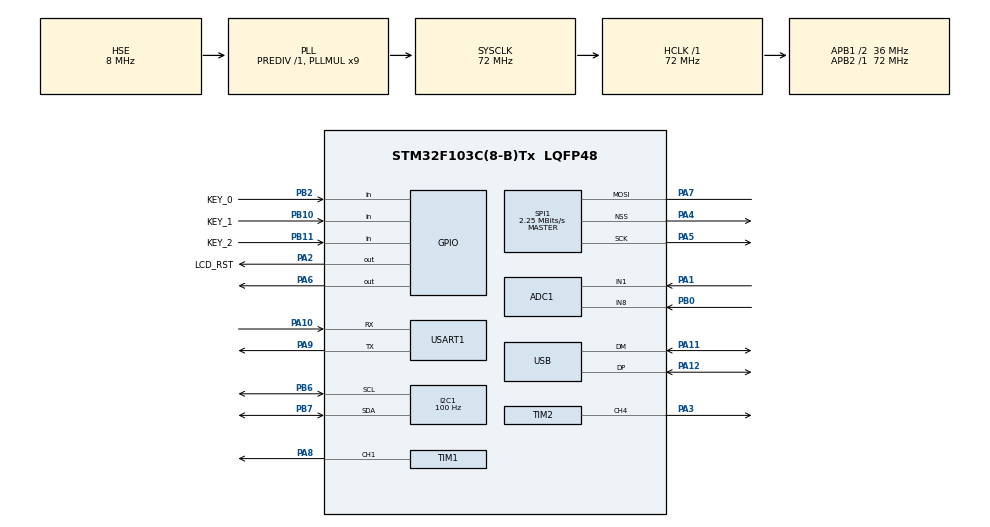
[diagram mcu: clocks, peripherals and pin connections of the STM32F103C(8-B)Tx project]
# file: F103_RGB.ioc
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ADC1.Channel-0\#ChannelRegularConversion=ADC_CHANNEL_1
ADC1.Channel-1\#ChannelRegularConversion=ADC_CHANNEL_8
ADC1.Channel-2\#ChannelRegularConversion=ADC_CHANNEL_TEMPSENSOR
ADC1.ContinuousConvMode=ENABLE
ADC1.NbrOfConversion=3
ADC1.NbrOfConversionFlag=1
ADC1.Rank-0\#ChannelRegularConversion=1
ADC1.Rank-1\#ChannelRegularConversion=2
ADC1.Rank-2\#ChannelRegularConversion=3
ADC1.SamplingTime-0\#ChannelRegularConversion=ADC_SAMPLETIME_239CYCLES_5
ADC1.SamplingTime-1\#ChannelRegularConversion=ADC_SAMPLETIME_239CYCLES_5
ADC1.SamplingTime-2\#ChannelRegularConversion=ADC_SAMPLETIME_239CYCLES_5
ADC1.master=1
Dma.ADC1.0.Direction=DMA_PERIPH_TO_MEMORY
Dma.ADC1.0.Instance=DMA1_Channel1
Dma.ADC1.0.MemDataAlignment=DMA_MDATAALIGN_HALFWORD
Dma.ADC1.0.MemInc=DMA_MINC_ENABLE
Dma.ADC1.0.Mode=DMA_CIRCULAR
Dma.ADC1.0.PeriphDataAlignment=DMA_PDATAALIGN_HALFWORD
Dma.ADC1.0.PeriphInc=DMA_PINC_DISABLE
Dma.ADC1.0.Priority=DMA_PRIORITY_LOW
Dma.Request0=ADC1
Dma.Request1=TIM1_CH1
Dma.TIM1_CH1.1.Direction=DMA_MEMORY_TO_PERIPH
Dma.TIM1_CH1.1.Instance=DMA1_Channel2
Dma.TIM1_CH1.1.MemDataAlignment=DMA_MDATAALIGN_HALFWORD
Dma.TIM1_CH1.1.MemInc=DMA_MINC_ENABLE
Dma.TIM1_CH1.1.Mode=DMA_NORMAL
Dma.TIM1_CH1.1.PeriphDataAlignment=DMA_PDATAALIGN_HALFWORD
Dma.TIM1_CH1.1.PeriphInc=DMA_PINC_DISABLE
Dma.TIM1_CH1.1.Priority=DMA_PRIORITY_LOW
I2C1.ClockSpeed=100
Mcu.Family=STM32F1
Mcu.Name=STM32F103C(8-B)Tx
Mcu.Package=LQFP48
NVIC.DMA1_Channel2_IRQn=true\:0\:0\:false\:false\:true\:false\:true\:true
NVIC.PriorityGroup=NVIC_PRIORITYGROUP_4
PA0-WKUP.Mode=SYS_WakeUp0
PA0-WKUP.Signal=SYS_WKUP
PA1.Signal=ADCx_IN1
PA10.Mode=Asynchronous
PA10.Signal=USART1_RX
PA11.Mode=Device
PA11.Signal=USB_DM
PA12.Mode=Device
PA12.Signal=USB_DP
PA13.Mode=Serial_Wire
PA13.Signal=SYS_JTMS-SWDIO
PA14.Mode=Serial_Wire
PA14.Signal=SYS_JTCK-SWCLK
PA2.GPIO_Label=LCD_RST
PA2.GPIO_PuPd=GPIO_NOPULL
PA2.Signal=GPIO_Output
PA3.Signal=S_TIM2_CH4
PA4.Mode=NSS_Signal_Hard_Output
PA4.Signal=SPI1_NSS
PA5.Mode=Simplex_Bidirectional_Master
PA5.Signal=SPI1_SCK
PA6.Signal=GPIO_Output
PA7.Mode=Simplex_Bidirectional_Master
PA7.Signal=SPI1_MOSI
PA8.Signal=S_TIM1_CH1
PA9.Mode=Asynchronous
PA9.Signal=USART1_TX
PB0.Signal=ADCx_IN8
PB10.GPIO_Label=KEY_1
PB10.Signal=GPIO_Input
PB11.GPIO_Label=KEY_2
PB11.Signal=GPIO_Input
PB2.GPIO_Label=KEY_0
PB2.Signal=GPIO_Input
PB6.Mode=I2C
PB6.Signal=I2C1_SCL
PB7.Mode=I2C
PB7.Signal=I2C1_SDA
PC14-OSC32_IN.Mode=LSE-External-Oscillator
PC14-OSC32_IN.Signal=RCC_OSC32_IN
PC15-OSC32_OUT.Mode=LSE-External-Oscillator
PC15-OSC32_OUT.Signal=RCC_OSC32_OUT
PD0-OSC_IN.Mode=HSE-External-Oscillator
PD0-OSC_IN.Signal=RCC_OSC_IN
PD1-OSC_OUT.Mode=HSE-External-Oscillator
PD1-OSC_OUT.Signal=RCC_OSC_OUT
ProjectManager.HeapSize=0x200
ProjectManager.StackSize=0x400
ProjectManager.TargetToolchain=MDK-ARM V5.32
RCC.ADCPresc=RCC_ADCPCLK2_DIV6
RCC.AHBFreq_Value=72000000
RCC.APB1CLKDivider=RCC_HCLK_DIV2
RCC.APB1Freq_Value=36000000
RCC.APB1TimFreq_Value=72000000
RCC.APB2Freq_Value=72000000
RCC.APB2TimFreq_Value=72000000
RCC.HCLKFreq_Value=72000000
RCC.PLLMUL=RCC_PLL_MUL9
RCC.PLLSourceVirtual=RCC_PLLSOURCE_HSE
RCC.SYSCLKFreq_VALUE=72000000
RCC.SYSCLKSource=RCC_SYSCLKSOURCE_PLLCLK
RCC.USBFreq_Value=48000000
RCC.USBPrescaler=RCC_USBCLKSOURCE_PLL_DIV1_5
SH.ADCx_IN1.0=ADC1_IN1,IN1
SH.ADCx_IN8.0=ADC1_IN8,IN8
SH.S_TIM1_CH1.0=TIM1_CH1,PWM Generation1 CH1
SH.S_TIM2_CH4.0=TIM2_CH4,PWM Generation4 CH4
SPI1.BaudRatePrescaler=SPI_BAUDRATEPRESCALER_32
SPI1.CalculateBaudRate=2.25 MBits/s
SPI1.Direction=SPI_DIRECTION_1LINE
SPI1.Mode=SPI_MODE_MASTER
SPI1.VirtualNSS=VM_NSSHARD
SPI1.VirtualType=VM_MASTER
TIM1.Channel-PWM\ Generation1\ CH1=TIM_CHANNEL_1
TIM1.OCFastMode_PWM-PWM\ Generation1\ CH1=TIM_OCFAST_ENABLE
TIM1.Period=90-1
TIM2.Channel-PWM\ Generation4\ CH4=TIM_CHANNEL_4
TIM2.Period=1000-1
TIM2.Prescaler=72-1
USART1.VirtualMode=VM_ASYNC
VP_ADC1_TempSens_Input.Mode=IN-TempSens
VP_TIM1_VS_ClockSourceINT.Mode=Internal
VP_TIM2_VS_ClockSourceINT.Mode=Internal
board=custom

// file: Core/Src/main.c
/* USER CODE BEGIN Header */
/**
  ******************************************************************************
  * @file           : main.c
  * @brief          : Main program body
  ******************************************************************************
  * @attention
  *
  * Copyright (c) 2025 STMicroelectronics.
  * All rights reserved.
  *
  * This software is licensed under terms that can be found in the LICENSE file
  * in the root directory of this software component.
  * If no LICENSE file comes with this software, it is provided AS-IS.
  *
  ******************************************************************************
  */
/* USER CODE END Header */
#include "main.h"
#include "adc.h"
#include "dma.h"
#include "i2c.h"
#include "spi.h"
#include "tim.h"
#include "usart.h"
#include "usb.h"
#include "gpio.h"

/* USER CODE BEGIN Includes */
#include "./WS2812/WS2812.h"
#include "./INA226/INA226.h"
//#include "./ST7789/ST7789.h"

#include "math.h"
/* USER CODE END Includes */

/* USER CODE BEGIN PD */
#define ADC_DMA_CHN		3
/* USER CODE END PD */

/* USER CODE BEGIN PV */
uint16_t Adc_1_V[ADC_DMA_CHN];
/* USER CODE END PV */

void SystemClock_Config(void);

/* USER CODE BEGIN 0 */
float BSP_Get_Temperature(float Rntc)
{
	float N1,N2,N3,N4;
	float BX = 3950;
	float T25 = 298.15;
	float R25 = 10;
	N1 = (log(Rntc)-log(R25))/BX;
	N2 = 1/T25 + N1;
	N3 = 1/N2;
	N4 = N3-273.15;
	return N4;
}

/* USER CODE END 0 */

int main(void)
{

  /* MCU Configuration--------------------------------------------------------*/

  /* Reset of all peripherals, Initializes the Flash interface and the Systick. */
  HAL_Init();

  /* Configure the system clock */
  SystemClock_Config();

  /* Initialize all configured peripherals */
  MX_GPIO_Init();
  MX_DMA_Init();
  MX_SPI1_Init();
  MX_TIM2_Init();
  MX_USART1_UART_Init();
  MX_USB_PCD_Init();
  MX_TIM1_Init();
  MX_ADC1_Init();
  MX_I2C1_Init();
  /* USER CODE BEGIN 2 */
	INA226_init();
	HAL_ADC_Start_DMA(&hadc1, (uint32_t *)Adc_1_V, ADC_DMA_CHN);

	WS2812_SetColors_All(0);

	printf("STM32F103CBT6\r\n");

		uint32_t colors[Led_Num] = {
		0xFF0000, 0xFF0000, 0xFF0000, 0xFF0000, 0xFF0000,
		0xFF0000, 0xFF0000, 0xFF0000, 0xFF0000, 0xFF0000,

		0xFF0000, 0xFF0000, 0xFF0000, 0xFF0000, 0xFF0000,
		0xFF0000, 0xFF0000, 0xFF0000, 0xFF0000, 0xFF0000,

		0x0000FF, 0x0000FF, 0x0000FF, 0x0000FF, 0x0000FF,
		0x0000FF, 0x0000FF, 0x0000FF, 0x0000FF, 0x0000FF,

		0x0000FF, 0x0000FF, 0x0000FF, 0x0000FF, 0x0000FF,
		0x0000FF, 0x0000FF, 0x0000FF, 0x0000FF, 0x0000FF
	};

		uint32_t colors1[Led_Num] = {
		0xFF0000, 0xFF0000, 0xFF0000, 0xFF0000, 0xFF0000,
		0xFF0000, 0xFF0000, 0xFF0000, 0xFF0000, 0xFF0000,

		0xFF0000, 0xFF0000, 0xFF0000, 0xFF0000, 0xFF0000,
		0xFF0000, 0xFF0000, 0xFF0000, 0xFF0000, 0xFF0000,

		0x000000, 0x000000, 0x000000, 0x000000, 0x000000,
		0x000000, 0x000000, 0x000000, 0x000000, 0x000000,

		0x000000, 0x000000, 0x000000, 0x000000, 0x000000,
		0x000000, 0x000000, 0x000000, 0x000000, 0x000000
	};

		uint32_t colors2[Led_Num] = {
		0x000000, 0x000000, 0x000000, 0x000000, 0x000000,
		0x000000, 0x000000, 0x000000, 0x000000, 0x000000,

		0x000000, 0x000000, 0x000000, 0x000000, 0x000000,
		0x000000, 0x000000, 0x000000, 0x000000, 0x000000,

		0x0000FF, 0x0000FF, 0x0000FF, 0x0000FF, 0x0000FF,
		0x0000FF, 0x0000FF, 0x0000FF, 0x0000FF, 0x0000FF,

		0x0000FF, 0x0000FF, 0x0000FF, 0x0000FF, 0x0000FF,
		0x0000FF, 0x0000FF, 0x0000FF, 0x0000FF, 0x0000FF
	};

	// 初始化LCD

	// 在初始化前添加SPI回环测试
uint8_t test_data = 0xAA;
uint8_t received = 0;
HAL_SPI_TransmitReceive(&hspi1, &test_data, &received, 1, 100);
if(received != test_data) {
	printf("err\r\n");
}

//	ST7789_Init(&hspi1);
	TIM2->PSC = 72-1;
	TIM2->ARR = 1000-1;
	TIM2->CCR4 = 1000;
	HAL_TIM_PWM_Start(&htim2, TIM_CHANNEL_4);

//    // 填充屏幕测试
//    ST7789_FillScreen(RED);
//    HAL_Delay(1000);
//    ST7789_FillScreen(GREEN);
//    HAL_Delay(1000);
//    ST7789_FillScreen(BLUE);
//    HAL_Delay(1000);
//
//    // 绘制测试图形
//    for(int i = 0; i < 100; i++) {
//        ST7789_DrawPixel(i, i, WHITE);
//    }

  /* USER CODE END 2 */

  /* Infinite loop */
  /* USER CODE BEGIN WHILE */
  while (1)
  {
//		WS2812_SetColors(colors1);
//		HAL_Delay(100);
//		WS2812_SetColors(colors2);
		HAL_Delay(1000);

//		ST7789_FillScreen(RED);

		float tmp = Adc_1_V[1] * 3.3 / 4096.;
		float tmp1 = (3.3 * 10 - 10 * tmp) / tmp;

		printf("V:%.5f\tI:%.5f\tP:%.5f\tBat:%.5f\tNTC:%.5f\r\n",
			INA226_GetBusV(),
			INA226_GetCurrent(),
			INA226_GetPower(),
			Adc_1_V[0] * 3.3 * 1.625 / 4096.,
			BSP_Get_Temperature(tmp1));

    /* USER CODE END WHILE */

  }
}

void SystemClock_Config(void)
{
  RCC_OscInitTypeDef RCC_OscInitStruct = {0};
  RCC_ClkInitTypeDef RCC_ClkInitStruct = {0};
  RCC_PeriphCLKInitTypeDef PeriphClkInit = {0};

  /** Initializes the RCC Oscillators according to the specified parameters
  * in the RCC_OscInitTypeDef structure.
  */
  RCC_OscInitStruct.OscillatorType = RCC_OSCILLATORTYPE_HSE;
  RCC_OscInitStruct.HSEState = RCC_HSE_ON;
  RCC_OscInitStruct.HSEPredivValue = RCC_HSE_PREDIV_DIV1;
  RCC_OscInitStruct.HSIState = RCC_HSI_ON;
  RCC_OscInitStruct.PLL.PLLState = RCC_PLL_ON;
  RCC_OscInitStruct.PLL.PLLSource = RCC_PLLSOURCE_HSE;
  RCC_OscInitStruct.PLL.PLLMUL = RCC_PLL_MUL9;
  if (HAL_RCC_OscConfig(&RCC_OscInitStruct) != HAL_OK)
  {
    Error_Handler();
  }

  /** Initializes the CPU, AHB and APB buses clocks
  */
  RCC_ClkInitStruct.ClockType = RCC_CLOCKTYPE_HCLK|RCC_CLOCKTYPE_SYSCLK
                              |RCC_CLOCKTYPE_PCLK1|RCC_CLOCKTYPE_PCLK2;
  RCC_ClkInitStruct.SYSCLKSource = RCC_SYSCLKSOURCE_PLLCLK;
  RCC_ClkInitStruct.AHBCLKDivider = RCC_SYSCLK_DIV1;
  RCC_ClkInitStruct.APB1CLKDivider = RCC_HCLK_DIV2;
  RCC_ClkInitStruct.APB2CLKDivider = RCC_HCLK_DIV1;

  if (HAL_RCC_ClockConfig(&RCC_ClkInitStruct, FLASH_LATENCY_2) != HAL_OK)
  {
    Error_Handler();
  }
  PeriphClkInit.PeriphClockSelection = RCC_PERIPHCLK_ADC|RCC_PERIPHCLK_USB;
  PeriphClkInit.AdcClockSelection = RCC_ADCPCLK2_DIV6;
  PeriphClkInit.UsbClockSelection = RCC_USBCLKSOURCE_PLL_DIV1_5;
  if (HAL_RCCEx_PeriphCLKConfig(&PeriphClkInit) != HAL_OK)
  {
    Error_Handler();
  }
}

void Error_Handler(void)
{
  __disable_irq();
  while (1)
  {
  }
}
